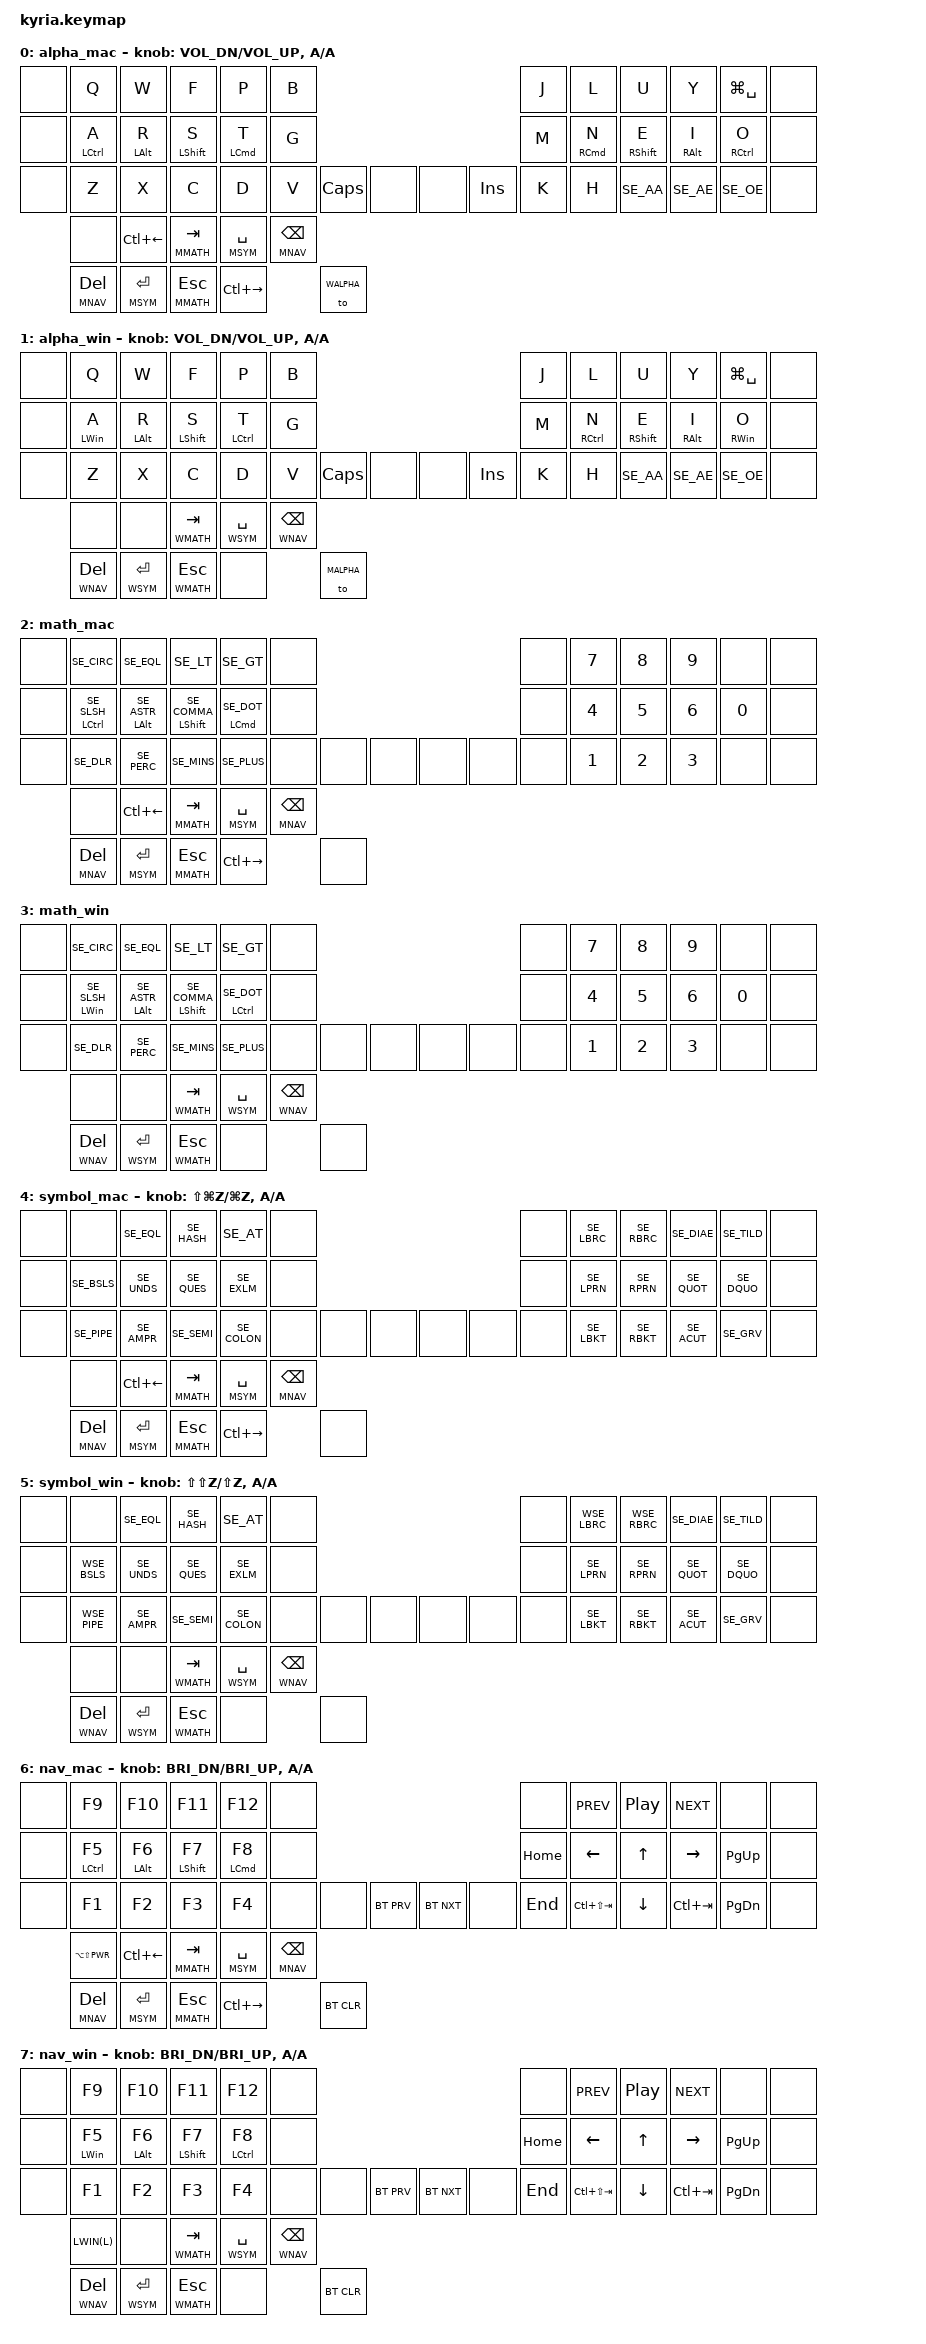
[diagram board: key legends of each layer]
/*
 * Copyright (c) 2020 The ZMK Contributors
 *
 * SPDX-License-Identifier: MIT
 */

#include <behaviors.dtsi>
#include <dt-bindings/zmk/keys.h>
#include "keymap-swedish.h"
#include <dt-bindings/zmk/bt.h>

#define MALPHA 0
#define WALPHA 1

#define MMATH  2
#define WMATH  3

#define MSYM   4
#define WSYM   5

#define MNAV   6 
#define WNAV   7 


#define LL(layer) &ll layer layer

/ {
	behaviors {
		ll: layer_layer {
			compatible = "zmk,behavior-hold-tap";
			label = "LAYER_LAYER";
			#binding-cells = <2>;
			tapping_term_ms = <0>;
			quick_tap_ms = <0>;
			flavor = "hold-preferred";
			bindings = <&mo>, <&to>;
		};
		ld: layer_double_tap {
			compatible = "zmk,behavior-hold-tap";
			label = "LAYER_DOUBLE_TAP";
			#binding-cells = <2>;
			tapping_term_ms = <200>;
			quick_tap_ms = <200>;
			flavor = "balanced";
			bindings = <&mo>, <&kp>;
		};
		hm: homerow_mods {
			compatible = "zmk,behavior-hold-tap";
			label = "HOMEROW_MODS";
			#binding-cells = <2>;
			tapping-term-ms = <200>;
			quick_tap_ms = <0>;
			flavor = "balanced";
			bindings = <&kp>, <&kp>;
		};
  };
};

/ {
	keymap {
		compatible = "zmk,keymap";

		// ALPHA
		// ┌───────┬───────┬───────┬───────┬───────┬───────┐                                       ┌───────┬───────┬───────┬───────┬───────┬───────┐
		// │       │   Q   │   W   │   F   │   P   │   B   │                                       │   J   │   L   │   U   │   Y   │  MENU │       │
		// ├───────┼───────┼───────┼───────┼───────┼───────┤                                       ├───────┼───────┼───────┼───────┼───────┼───────┤
		// │       │  CTRL │  ALT  │ SHIFT │  CMD  │       │                                       │       │  CMD  │ SHIFT │  ALT  │  CTRL │       │
		// │       │   A   │   R   │   S   │   T   │   G   │                                       │   M   │   N   │   E   │   I   │   O   │       │
		// ├───────┼───────┼───────┼───────┼───────┼───────┼───────┬───────┐       ┌───────┬───────┼───────┼───────┼───────┼───────┼───────┼───────┤
		// │       │   Z   │   X   │   C   │   D   │   V   │  CAPS │       │       │       │  INS  │   K   │   H   │   Å   │  Ä/Ø  │  Ö/Æ  │       │
		// └───────┴───────┴───────┼───────┼───────┼───────┼───────┼───────┤       ├───────┼───────┼───────┼───────┼───────┼───────┴───────┴───────┘
		//                         │  VOL  │       │  NAV  │  SYM  │  MATH │       │  MATH │  SYM  │  NAV  │       │  WIN  │
		//                         │ PL/PS │ LDESK │  TAB  │ SPACE │  BSPC │       │  DEL  │ ENTER │  ESC  │ RDESK │  MAC  │
		//                         └───────┴───────┴───────┴───────┴───────┘       └───────┴───────┴───────┴───────┴───────┘

		alpha_mac {
			bindings = <
				&none  &kp Q       &kp W      &kp F       &kp P      &kp B                                     &kp J &kp L      &kp U       &kp Y      &kp LG(SPACE) &none
				&none  &hm LCTRL A &hm LALT R &hm LSHFT S &hm LCMD T &kp G                                     &kp M &hm RCMD N &hm RSHFT E &hm RALT I &hm RCTRL O   &none
				&none  &kp Z       &kp X      &kp C       &kp D      &kp V &kp CAPS &none        &none &kp INS &kp K &kp H      &kp SE_AA   &kp SE_AE  &kp SE_OE     &none
					&none &kp LC(LEFT) &ld MMATH TAB &ld MSYM SPACE &ld MNAV BSPC    
					&ld MNAV DEL &ld MSYM RET  &ld MMATH ESC &kp LC(RIGHT) &to WALPHA
			>;
			sensor-bindings = <&inc_dec_kp C_VOL_DN C_VOL_UP &inc_dec_kp A A>;
		};

		alpha_win {
			bindings = <
				&none  &kp Q      &kp W      &kp F       &kp P       &kp B                                     &kp J &kp L       &kp U       &kp Y      &kp LG(SPACE) &none
				&none  &hm LWIN A &hm LALT R &hm LSHFT S &hm LCTRL T &kp G                                     &kp M &hm RCTRL N &hm RSHFT E &hm RALT I &hm RWIN O    &none
				&none  &kp Z      &kp X      &kp C       &kp D       &kp V &kp CAPS &none        &none &kp INS &kp K &kp H       &kp SE_AA   &kp SE_AE  &kp SE_OE     &none
					&none &none &ld WMATH TAB &ld WSYM SPACE &ld WNAV BSPC    
					&ld WNAV DEL &ld WSYM RET  &ld WMATH ESC &none &to MALPHA
			>;
			sensor-bindings = <&inc_dec_kp C_VOL_DN C_VOL_UP &inc_dec_kp A A>;
		};

		// MATH
		// ┌───────┬───────┬───────┬───────┬───────┬───────┐                                       ┌───────┬───────┬───────┬───────┬───────┬───────┐
		// │       │   ^   │   =   │   <   │   >   │       │                                       │       │   7   │   8   │   9   │       │       │
		// ├───────┼───────┼───────┼───────┼───────┼───────┤                                       ├───────┼───────┼───────┼───────┼───────┼───────┤
		// │       │  CTRL │  ALT  │ SHIFT │  CMD  │       │                                       │       │       │       │       │       │       │
		// │       │   /   │   *   │   ,   │   .   │       │                                       │       │   4   │   5   │   6   │   0   │       │
		// ├───────┼───────┼───────┼───────┼───────┼───────┼───────┬───────┐       ┌───────┬───────┼───────┼───────┼───────┼───────┼───────┼───────┤
		// │       │   $   │   %   │   -   │   +   │       │       │       │       │       │       │       │   1   │   2   │   3   │       │       │
		// └───────┴───────┴───────┼───────┼───────┼───────┼───────┼───────┤       ├───────┼───────┼───────┼───────┼───────┼───────┴───────┴───────┘
		//                         │       │       │  NAV  │  SYM  │  MATH │       │  MATH │  SYM  │  NAV  │       │       │
		//                         │       │       │  TAB  │ SPACE │  BSPC │       │  DEL  │ ENTER │  ESC  │       │       │
		//                         └───────┴───────┴───────┴───────┴───────┘       └───────┴───────┴───────┴───────┴───────┘

		math_mac {
			bindings = <
				&none &kp SE_CIRC       &kp SE_EQL       &kp SE_LT          &kp SE_GT       &none                             &none  &kp N7 &kp N8 &kp N9 &none  &none
				&none &hm LCTRL SE_SLSH &hm LALT SE_ASTR &hm LSHFT SE_COMMA &hm LCMD SE_DOT &none                             &none  &kp N4 &kp N5 &kp N6 &kp N0 &none
				&none &kp SE_DLR        &kp SE_PERC      &kp SE_MINS        &kp SE_PLUS     &none  &none &none    &none &none &none  &kp N1 &kp N2 &kp N3 &none  &none
					&none &kp LC(LEFT) &ld MMATH TAB &ld MSYM SPACE &ld MNAV BSPC    
					&ld MNAV DEL &ld MSYM RET  &ld MMATH ESC &kp LC(RIGHT) &none
			>;			
			// sensor-bindings = < &inc_dec_kp A A &inc_dec_kp A A>;
		};

		math_win {
			bindings = <
				&none &kp SE_CIRC      &kp SE_EQL       &kp SE_LT          &kp SE_GT        &none                           &none  &kp N7 &kp N8 &kp N9 &none  &none
				&none &hm LWIN SE_SLSH &hm LALT SE_ASTR &hm LSHFT SE_COMMA &hm LCTRL SE_DOT &none                           &none  &kp N4 &kp N5 &kp N6 &kp N0 &none
				&none &kp SE_DLR       &kp SE_PERC      &kp SE_MINS        &kp SE_PLUS      &none  &none &none  &none &none &none  &kp N1 &kp N2 &kp N3 &none  &none
					&none &none &ld WMATH TAB &ld WSYM SPACE &ld WNAV BSPC    
					&ld WNAV DEL &ld WSYM RET  &ld WMATH ESC &none &none
			>;			
			// sensor-bindings = < &inc_dec_kp A A &inc_dec_kp A A>;
		};

		// SYM
		// ┌───────┬───────┬───────┬───────┬───────┬───────┐                                       ┌───────┬───────┬───────┬───────┬───────┬───────┐
		// │       │       │   =   │   #   │   @   │       │                                       │       │   {   │   }   │   ¨   │   ~   │       │
		// ├───────┼───────┼───────┼───────┼───────┼───────┤                                       ├───────┼───────┼───────┼───────┼───────┼───────┤
		// │       │       │       │       │       │       │                                       │       │       │       │       │       │       │
		// │       │   \   │   _   │   ?   │   !   │       │                                       │       │   (   │   )   │   '   │   "   │       │
		// ├───────┼───────┼───────┼───────┼───────┼───────┼───────┬───────┐       ┌───────┬───────┼───────┼───────┼───────┼───────┼───────┼───────┤
		// │       │   |   │   &   │   ;   │   :   │       │       │       │       │       │       │       │   [   │   ]   │   ´   │   `   │       │
		// └───────┴───────┴───────┼───────┼───────┼───────┼───────┼───────┤       ├───────┼───────┼───────┼───────┼───────┼───────┴───────┴───────┘
		//                         │ SCRUB │       │  NAV  │  SYM  │  MATH │       │  MATH │  SYM  │  NAV  │       │       │
		//                         │       │       │  TAB  │ SPACE │  BSPC │       │  DEL  │ ENTER │  ESC  │       │       │
		//                         └───────┴───────┴───────┴───────┴───────┘       └───────┴───────┴───────┴───────┴───────┘

		symbol_mac {
			bindings = <
				&none &none       &kp SE_EQL  &kp SE_HASH &kp SE_AT    &none                             &none  &kp SE_LBRC &kp SE_RBRC &kp SE_DIAE &kp SE_TILD &none
				&none &kp SE_BSLS &kp SE_UNDS &kp SE_QUES &kp SE_EXLM  &none                             &none  &kp SE_LPRN &kp SE_RPRN &kp SE_QUOT &kp SE_DQUO &none
				&none &kp SE_PIPE &kp SE_AMPR &kp SE_SEMI &kp SE_COLON &none  &none &none    &none &none &none  &kp SE_LBKT &kp SE_RBKT &kp SE_ACUT &kp SE_GRV  &none
					&none &kp LC(LEFT) &ld MMATH TAB &ld MSYM SPACE &ld MNAV BSPC    
					&ld MNAV DEL &ld MSYM RET  &ld MMATH ESC &kp LC(RIGHT) &none
			>;
			sensor-bindings = <&inc_dec_kp LS(LG(Z)) LG(Z) &inc_dec_kp A A>;
		};

		symbol_win {
			bindings = <
				&none &none        &kp SE_EQL  &kp SE_HASH &kp SE_AT    &none                             &none  &kp WSE_LBRC &kp WSE_RBRC &kp SE_DIAE &kp SE_TILD &none
				&none &kp WSE_BSLS &kp SE_UNDS &kp SE_QUES &kp SE_EXLM  &none                             &none  &kp SE_LPRN  &kp SE_RPRN  &kp SE_QUOT &kp SE_DQUO &none
				&none &kp WSE_PIPE &kp SE_AMPR &kp SE_SEMI &kp SE_COLON &none  &none &none    &none &none &none  &kp SE_LBKT  &kp SE_RBKT  &kp SE_ACUT &kp SE_GRV  &none
					&none &none &ld WMATH TAB &ld WSYM SPACE &ld WNAV BSPC    
					&ld WNAV DEL &ld WSYM RET &ld WMATH ESC &none &none
			>;
			sensor-bindings = <&inc_dec_kp LS(LS(Z)) LS(Z) &inc_dec_kp A A>;
		};

		// NAV
		// ┌───────┬───────┬───────┬───────┬───────┬───────┐                                       ┌───────┬───────┬───────┬───────┬───────┬───────┐
		// │       │   F9  │  F10  │  F11  │  F12  │       │                                       │       │  LTAB │   ↑   │  RTAB │       │       │
		// ├───────┼───────┼───────┼───────┼───────┼───────┤                                       ├───────┼───────┼───────┼───────┼───────┼───────┤
		// │       │  CTRL │  ALT  │ SHIFT │  CMD  │       │                                       │       │       │       │       │       │       │
		// │       │   F5  │   F6  │   F7  │   F8  │       │                                       │  HOME │   ←   │   ↓   │   →   │  PGUP │       │
		// ├───────┼───────┼───────┼───────┼───────┼───────┼───────┬───────┐       ┌───────┬───────┼───────┼───────┼───────┼───────┼───────┼───────┤
		// │       │   F1  │   F2  │   F3  │   F4  │       │       │ BTPRV │       │ BTNXT │       │  END  │  PREV │ PL/PS │  NEXT │  PGDN │       │
		// └───────┴───────┴───────┼───────┼───────┼───────┼───────┼───────┤       ├───────┼───────┼───────┼───────┼───────┼───────┴───────┴───────┘
		//                         │  BRI  │       │  NAV  │  SYM  │  MATH │       │  MATH │  SYM  │  NAV  │       │ RESET │
		//                         │  LOCK │       │  TAB  │ SPACE │  BSPC │       │  DEL  │ ENTER │  ESC  │       │  BLT  │
		//                         └───────┴───────┴───────┴───────┴───────┘       └───────┴───────┴───────┴───────┴───────┘

		nav_mac {
			bindings = <
				&none &kp       F9 &kp     F10 &kp      F11 &kp     F12 &none                                        &none     &kp C_PREV      &kp C_PP   &kp C_NEXT  &none     &none
				&none &mt LCTRL F5 &mt LALT F6 &mt LSHFT F7 &hm LCMD F8 &none                                        &kp HOME  &kp LEFT        &kp UP     &kp RIGHT   &kp PG_UP &none
				&none &kp       F1 &kp      F2 &kp       F3 &kp      F4 &none  &none &bt BT_PRV     &bt BT_NXT &none &kp END   &kp LC(LS(TAB)) &kp DOWN   &kp LC(TAB) &kp PG_DN &none
					&kp LA(LS(K_PWR)) &kp LC(LEFT) &ld MMATH TAB &ld MSYM SPACE &ld MNAV BSPC    
					&ld MNAV DEL &ld MSYM RET  &ld MMATH ESC &kp LC(RIGHT) &bt BT_CLR
			>;
			sensor-bindings = <&inc_dec_kp C_BRI_DN C_BRI_UP &inc_dec_kp A A>;
		};

		nav_win {
			bindings = <
				&none &kp      F9 &kp     F10 &kp      F11 &kp      F12 &none                                        &none     &kp C_PREV      &kp C_PP   &kp C_NEXT  &none     &none
				&none &mt LWIN F5 &mt LALT F6 &mt LSHFT F7 &hm LCTRL F8 &none                                        &kp HOME  &kp LEFT        &kp UP     &kp RIGHT   &kp PG_UP &none
				&none &kp      F1 &kp      F2 &kp       F3 &kp       F4 &none  &none &bt BT_PRV     &bt BT_NXT &none &kp END   &kp LC(LS(TAB)) &kp DOWN   &kp LC(TAB) &kp PG_DN &none
					&kp LWIN(L) &none &ld WMATH TAB &ld WSYM SPACE &ld WNAV BSPC    
					&ld WNAV DEL &ld WSYM RET  &ld WMATH ESC &none &bt BT_CLR
			>;
			sensor-bindings = <&inc_dec_kp C_BRI_DN C_BRI_UP &inc_dec_kp A A>;
		};

	};
};

















//	=== Gaming ===
//		gaming_layer {
// -------------------------------------------                                          ----------------------------------------------
// │    │   1    │  2   │  3   │  4   │  5   │                                          │       │      │      │      │       │       │
// -------------------------------------------                                          ----------------------------------------------
// │ H  │ SHIFT  │  A   │  W   │  D   │  Q   │                                          │       │      │      │      │       │       │
// ---------------------------------------------------------------  ------------------------------------------------------------------
// │ X  │ CTRL/C │  Q   │  S   │  R   │  G   │   ESC   │    B    │  │         │         │       │      │      │      │       │       │
// ---------------------------------------------------------------  ------------------------------------------------------------------
//                      │      │      │  F   │  SPACE  │    E    │  │         │         │       │      │      │ UNFINISHED!
//                      ------------------------------------------  -------------------------------------------
//			bindings = <
//	&kp C_MUTE &none  &kp C_PREV &kp C_PP  &kp C_NECT &none                                          &none &none &none &none &none &none
//	&none      &kp AT &kp PRCNT  &kp DLLR  &kp HASH   &none                                          &none &none &none &none &none &none
//	&none      &none  &none      &kp TILDE &none      &none &kp ESC &kp CAPS     &kp LSHFT &kp LSHFT &none &none &none &none &none &none

//	&mt LALT TAB &mt LCTRL RET    &mt LGUI BSPC &mt LSHIFT SPACE &to ALPHA
//	&to ALPHA    &mt LSHIFT SPACE &mt LGUI BSPC &mt LCTRL RET    &mt LALT TAB
//			>;

//			sensor-bindings = <&inc_dec_kp C_VOL_DN C_VOL_UP &inc_dec_kp LG(Z) LA(LG(Z))>;
//		};


// TEMPLATE
// ┌───────┬───────┬───────┬───────┬───────┬───────┐                                       ┌───────┬───────┬───────┬───────┬───────┬───────┐
// │       │       │       │       │       │       │                                       │       │       │       │       │       │       │
// ├───────┼───────┼───────┼───────┼───────┼───────┤                                       ├───────┼───────┼───────┼───────┼───────┼───────┤
// │       │       │       │       │       │       │                                       │       │       │       │       │       │       │
// │       │       │       │       │       │       │                                       │       │       │       │       │       │       │
// ├───────┼───────┼───────┼───────┼───────┼───────┼───────┬───────┐       ┌───────┬───────┼───────┼───────┼───────┼───────┼───────┼───────┤
// │       │       │       │       │       │       │       │       │       │       │       │       │       │       │       │       │       │
// └───────┴───────┴───────┼───────┼───────┼───────┼───────┼───────┤       ├───────┼───────┼───────┼───────┼───────┼───────┴───────┴───────┘
//                         │       │       │       │       │       │       │       │       │       │       │       │
//                         │       │       │       │       │       │       │       │       │       │       │       │
//                         └───────┴───────┴───────┴───────┴───────┘       └───────┴───────┴───────┴───────┴───────┘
